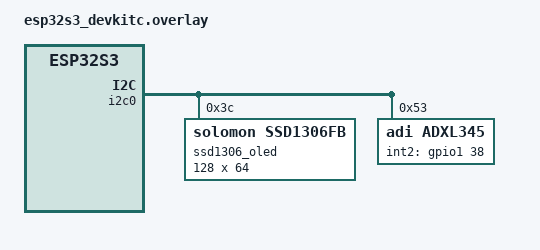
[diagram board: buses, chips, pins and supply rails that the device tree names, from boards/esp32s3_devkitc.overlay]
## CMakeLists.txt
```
cmake_minimum_required(VERSION 3.20.0)

find_package(Zephyr REQUIRED HINTS $ENV{ZEPHYR_BASE})
project(accelerometer_spi LANGUAGES C)

target_sources(app PRIVATE src/main.c)
```

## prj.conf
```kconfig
# Console + logging
CONFIG_CONSOLE=y
CONFIG_UART_CONSOLE=y
CONFIG_LOG=y
CONFIG_LOG_DEFAULT_LEVEL=3

# Use minimal C library to avoid picolibc/newlib complications
CONFIG_MINIMAL_LIBC=y
CONFIG_PICOLIBC=n
CONFIG_NEWLIB_LIBC=n

# Display stack for SSD1306
CONFIG_DISPLAY=y
CONFIG_DISPLAY_LOG_LEVEL_INF=y
CONFIG_I2C=y
CONFIG_SSD1306=y
CONFIG_CHARACTER_FRAMEBUFFER=y
CONFIG_CFB_LOG_LEVEL_INF=y

# Sensor stack for ADXL345 over I2C
CONFIG_SENSOR=y
CONFIG_ADXL345=y
CONFIG_ADXL345_TRIGGER_GLOBAL_THREAD=y

# Stack room for display + sensor operations
CONFIG_MAIN_STACK_SIZE=4096
CONFIG_HEAP_MEM_POOL_SIZE=8192
```

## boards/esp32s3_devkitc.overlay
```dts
/*
 * SSD1306 OLED on I2C0 (0x3C) for displaying acceleration.
 * ADXL345 on SPI2 with GPIO12/11/13 for CLK/MOSI/MISO and GPIO14 as CS.
 * INT2 wired to GPIO38 (data ready).
 */

/ {
    chosen {
        zephyr,display = &ssd1306_oled;
    };
};

&i2c0 {
    status = "okay";

    ssd1306_oled: ssd1306@3c {
        compatible = "solomon,ssd1306fb";
        reg = <0x3c>;
        width = <128>;
        height = <64>;
        segment-offset = <0>;
        page-offset = <0>;
        display-offset = <0>;
        multiplex-ratio = <63>;
        segment-remap;
        com-invdir;
        prechargep = <0x22>;
    };

    adxl345: adxl345@53 {
        compatible = "adi,adxl345";
        reg = <0x53>;
        odr = <3>; /* 100 Hz */
        int2-gpios = <&gpio1 38 GPIO_ACTIVE_HIGH>;
    };
};

&spi2 {
    status = "disabled";
};
```

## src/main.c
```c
#include <zephyr/kernel.h>
#include <zephyr/device.h>
#include <zephyr/drivers/display.h>
#include <zephyr/display/cfb.h>
#include <zephyr/drivers/sensor.h>
#include <zephyr/logging/log.h>
#include <stdio.h>

LOG_MODULE_REGISTER(adxl_oled, LOG_LEVEL_INF);

/* Display and sensor devices from devicetree. */
static const struct device *const display = DEVICE_DT_GET(DT_CHOSEN(zephyr_display));
static const struct device *const adxl = DEVICE_DT_GET_ONE(adi_adxl345);

static struct k_work display_work;
static struct sensor_trigger data_ready_trig;
static bool cfb_ready;
static bool adxl_ready;

static void update_display(float x_g, float y_g, float z_g)
{
    if (!cfb_ready) {
        return;
    }

    char line1[32], line2[32], line3[32];
    snprintk(line1, sizeof(line1), "X: %.2f g", x_g);
    snprintk(line2, sizeof(line2), "Y: %.2f g", y_g);
    snprintk(line3, sizeof(line3), "Z: %.2f g", z_g);

    cfb_framebuffer_clear(display, true);
    cfb_print(display, "ADXL345 (SPI)", 2, 4);
    cfb_print(display, line1, 2, 20);
    cfb_print(display, line2, 2, 36);
    cfb_print(display, line3, 2, 52);
    cfb_framebuffer_finalize(display);
}

static void display_work_handler(struct k_work *work)
{
    ARG_UNUSED(work);

    if (!adxl_ready) {
        return;
    }

    struct sensor_value accel[3];
    if (sensor_sample_fetch(adxl) < 0) {
        LOG_ERR("ADXL sample fetch failed");
        return;
    }
    if (sensor_channel_get(adxl, SENSOR_CHAN_ACCEL_XYZ, accel) < 0) {
        LOG_ERR("ADXL read failed");
        return;
    }

    float x = sensor_value_to_double(&accel[0]);
    float y = sensor_value_to_double(&accel[1]);
    float z = sensor_value_to_double(&accel[2]);

    LOG_INF("Accel: X=%.3f g Y=%.3f g Z=%.3f g", x, y, z);
    update_display(x, y, z);
}

static void adxl_trigger_handler(const struct device *dev,
                                 const struct sensor_trigger *trig)
{
    ARG_UNUSED(dev);
    ARG_UNUSED(trig);
    /* Offload the read/display work to the system workqueue. */
    k_work_submit(&display_work);
}

int main(void)
{
    if (!device_is_ready(display)) {
        LOG_ERR("Display device not ready");
        return 0;
    }

    if (display_set_pixel_format(display, PIXEL_FORMAT_MONO01) < 0) {
        LOG_ERR("Failed to set pixel format");
        return 0;
    }
    if (display_blanking_off(display) < 0) {
        LOG_ERR("Failed to unblank display");
        return 0;
    }
    if (cfb_framebuffer_init(display) < 0) {
        LOG_ERR("CFB init failed");
        return 0;
    }
    cfb_framebuffer_set_font(display, 0);
    cfb_ready = true;

    k_work_init(&display_work, display_work_handler);

    adxl_ready = device_is_ready(adxl);
    if (!adxl_ready) {
        LOG_WRN("ADXL device not ready; showing placeholder screen");
        cfb_framebuffer_clear(display, true);
        cfb_print(display, "ADXL345 not ready", 2, 20);
        cfb_print(display, "Check wiring/CS", 2, 36);
        cfb_framebuffer_finalize(display);
        goto idle;
    }

    data_ready_trig.type = SENSOR_TRIG_DATA_READY;
    data_ready_trig.chan = SENSOR_CHAN_ACCEL_XYZ;
    if (sensor_trigger_set(adxl, &data_ready_trig, adxl_trigger_handler) < 0) {
        LOG_WRN("Failed to set data ready trigger; falling back to polling");
        while (1) {
            k_work_submit(&display_work);
            k_msleep(200);
        }
    }

    LOG_INF("ADXL345 SPI + OLED demo running (data ready interrupt -> workqueue)");

idle:
    /* Main thread idles; work is driven by sensor triggers. */
    while (1) {
        k_sleep(K_SECONDS(1));
    }

    return 0;
}
```
